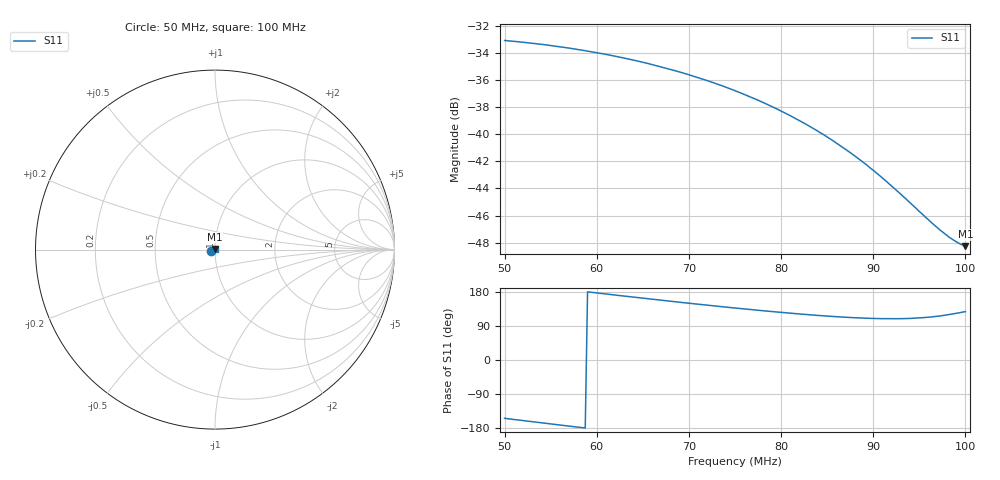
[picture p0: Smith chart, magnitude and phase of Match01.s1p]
!Agilent Technologies,E5072A,MY51200456,A.01.06
!Date: Thu Sep 03 20:49:18 2015
!Data & Calibration Information:
!Freq	S11:SOLT1(ON)
!PortZ  Port1:50+j0
!Above PortZ is port z conversion or system Z0 setting when saving the data.
!When reading, reference impedance value at option line is always used.
# Hz S dB R 50
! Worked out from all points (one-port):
!   201 points, 50 MHz to 100 MHz, reference 50 ohm
!   lowest |S11| = -48.3 dB at 100 MHz (marker M1), VSWR 1.01, Z = 49.8 + j0.304 ohm
!   |S11| at or under -10 dB: start of sweep to end of sweep
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5e7  -33.09 -154.0
5.4e7  -33.38 -165.8
5.625e7  -33.58 -172.3
6e7  -33.99 177.0
6.25e7  -34.32 170.0
6.55e7  -34.78 161.8
6.875e7  -35.37 153.0
7.2e7  -36.05 144.6
7.35e7  -36.41 140.9
7.5e7  -36.79 137.2
7.65e7  -37.20 133.6
7.8e7  -37.65 130.1
7.95e7  -38.12 126.7
8.125e7  -38.73 123.0
8.275e7  -39.28 119.9
8.45e7  -39.99 116.7
8.625e7  -40.76 113.9
8.75e7  -41.35 112.2
8.925e7  -42.25 110.2
9.1e7  -43.22 109.1
9.25e7  -44.12 109.0
9.375e7  -44.90 109.6
9.625e7  -46.48 113.5
9.725e7  -47.07 116.3
9.825e7  -47.60 119.8
9.875e7  -47.82 122.0
9.95e7  -48.11 125.4
1e8  -48.25 127.7
